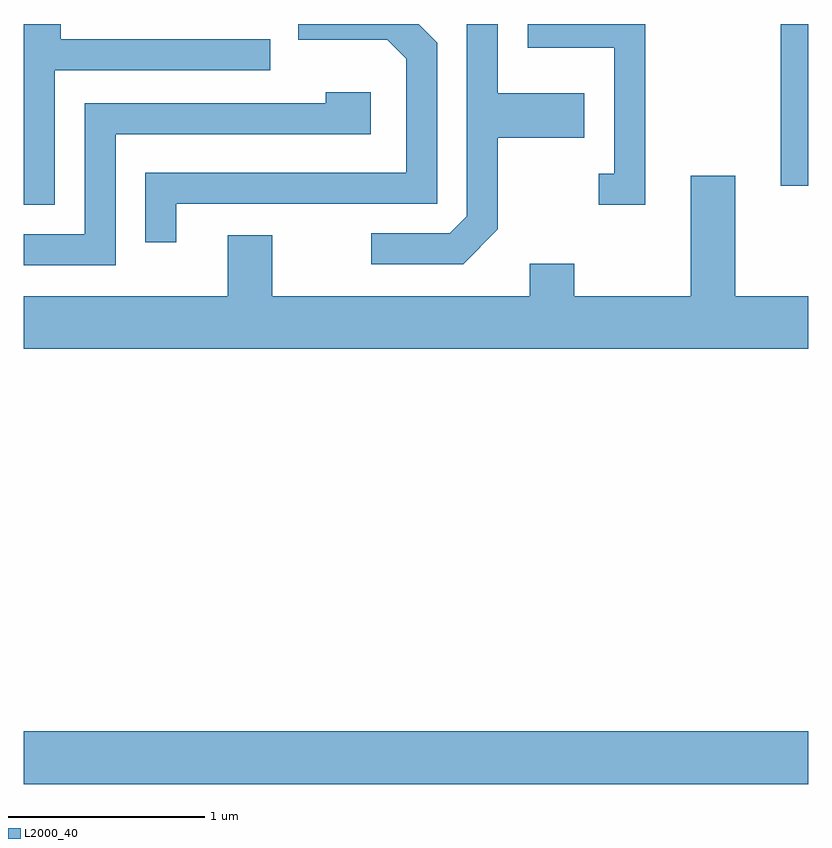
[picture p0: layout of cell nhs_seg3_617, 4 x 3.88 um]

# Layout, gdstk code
import gdstk
lib = gdstk.Library(unit=1e-6, precision=1e-09)
def R(c, l, rs):  # rectangles x0, y0, x1, y1
    for r in rs: c.add(gdstk.rectangle(r[:2], r[2:], *l))
def P(c, l, *ps):  # polygons
    for p in ps: c.add(gdstk.Polygon(p, *l))
L2000_40 = (2000, 40)

nhs_seg3_617 = lib.new_cell('nhs_seg3_617')
R(nhs_seg3_617, L2000_40, [(203.611,1126.016,207.611,1126.284), (207.471,1129.066,207.611,1129.892)])
P(nhs_seg3_617, L2000_40, [(206.029,1128.844),(206.029,1129.311),(206.469,1129.311),(206.469,1129.539),(206.029,1129.539),(206.029,1129.892),(205.871,1129.892),(205.871,1128.912),(205.784,1128.824),(205.383,1128.824),(205.383,1128.666),(205.852,1128.666)],
  [(206.779,1129.892),(206.181,1129.892),(206.181,1129.771),(206.621,1129.771),(206.621,1129.129),(206.543,1129.129),(206.543,1128.971),(206.779,1128.971)],
  [(204.389,1128.976),(205.719,1128.976),(205.719,1129.797),(205.624,1129.892),(205.011,1129.892),(205.011,1129.811),(205.464,1129.811),(205.561,1129.714),(205.561,1129.134),(204.231,1129.134),(204.231,1128.778),(204.389,1128.778)],
  [(203.769,1129.656),(204.868,1129.656),(204.868,1129.814),(203.799,1129.814),(203.799,1129.892),(203.611,1129.892),(203.611,1128.971),(203.769,1128.971)],
  [(204.079,1129.331),(205.379,1129.331),(205.379,1129.544),(205.151,1129.544),(205.151,1129.489),(203.921,1129.489),(203.921,1128.819),(203.611,1128.819),(203.611,1128.661),(204.079,1128.661)],
  [(207.611,1128.504),(207.239,1128.504),(207.239,1129.119),(207.011,1129.119),(207.011,1128.504),(206.419,1128.504),(206.419,1128.669),(206.191,1128.669),(206.191,1128.504),(204.879,1128.504),(204.879,1128.814),(204.651,1128.814),(204.651,1128.504),(203.611,1128.504),(203.611,1128.236),(207.611,1128.236)])

lib.write_gds('nhs_seg3_617.gds')
